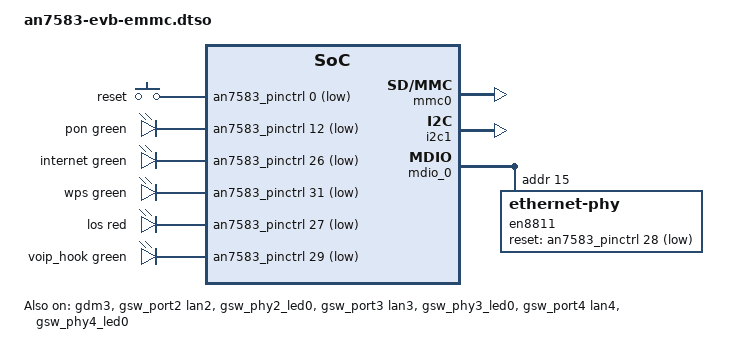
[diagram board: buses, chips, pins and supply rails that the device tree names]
// SPDX-License-Identifier: (GPL-2.0-only OR BSD-2-Clause)
/dts-v1/;
/plugin/;

#include <dt-bindings/leds/common.h>
#include <dt-bindings/gpio/gpio.h>
#include <dt-bindings/input/input.h>

&{/} {
	gpio-keys-polled {
		compatible = "gpio-keys-polled";
		poll-interval = <100>;

		btn-reset {
			label = "reset";
			linux,code = <BTN_0>;
			gpios = <&an7583_pinctrl 0 GPIO_ACTIVE_LOW>;
		};
	};

	leds {
		compatible = "gpio-leds";

		led-1 {
			label = "pon";
			color = <LED_COLOR_ID_GREEN>;
			function = LED_FUNCTION_STATUS;
			gpios = <&an7583_pinctrl 12 GPIO_ACTIVE_LOW>;
		};

		led-2 {
			label = "internet";
			color = <LED_COLOR_ID_GREEN>;
			function = LED_FUNCTION_STATUS;
			gpios = <&an7583_pinctrl 26 GPIO_ACTIVE_LOW>;
		};

		led-3 {
			label = "wps";
			color = <LED_COLOR_ID_GREEN>;
			function = LED_FUNCTION_STATUS;
			gpios = <&an7583_pinctrl 31 GPIO_ACTIVE_LOW>;
		};

		led-4 {
			label = "los";
			color = <LED_COLOR_ID_RED>;
			function = LED_FUNCTION_STATUS;
			gpios = <&an7583_pinctrl 27 GPIO_ACTIVE_LOW>;
		};

		led-5 {
			label = "voip_hook";
			color = <LED_COLOR_ID_GREEN>;
			function = LED_FUNCTION_STATUS;
			gpios = <&an7583_pinctrl 29 GPIO_ACTIVE_LOW>;
		};
	};
};

&mmc0 {
	status = "okay";
};

&i2c1 {
	status = "okay";
};

&mdio_0 {
	en8811: ethernet-phy@f {
		reg = <0xf>;

		reset-gpios = <&an7583_pinctrl 28 GPIO_ACTIVE_LOW>;
		reset-assert-us = <10000>;
		reset-deassert-us = <20000>;

		leds {
			#address-cells = <1>;
			#size-cells = <0>;

			led@0 {
				reg = <0>;
				function = LED_FUNCTION_LAN;
				color = <LED_COLOR_ID_GREEN>;
				function-enumerator = <0>;
				default-state = "keep";
			};

			led@1 {
				reg = <1>;
				function = LED_FUNCTION_LAN;
				color = <LED_COLOR_ID_GREEN>;
				function-enumerator = <1>;
				default-state = "keep";
			};
		};
	};
};

&eth {
	nvmem-cells = <&mac_factory_2c0000>;
	nvmem-cell-names = "mac";
};

&gdm3 {
	status = "okay";

	phy-handle = <&en8811>;
	phy-mode = "2500base-x";
};

&gsw_port2 {
	status = "okay";
	label = "lan2";
};

&gsw_phy2_led0 {
	status = "okay";
	active-low;
};

&gsw_port3 {
	status = "okay";
	label = "lan3";
};

&gsw_phy3_led0 {
	status = "okay";
	active-low;
};

&gsw_port4 {
	status = "okay";
	label = "lan4";
};

&gsw_phy4_led0 {
	status = "okay";
	active-low;
};
